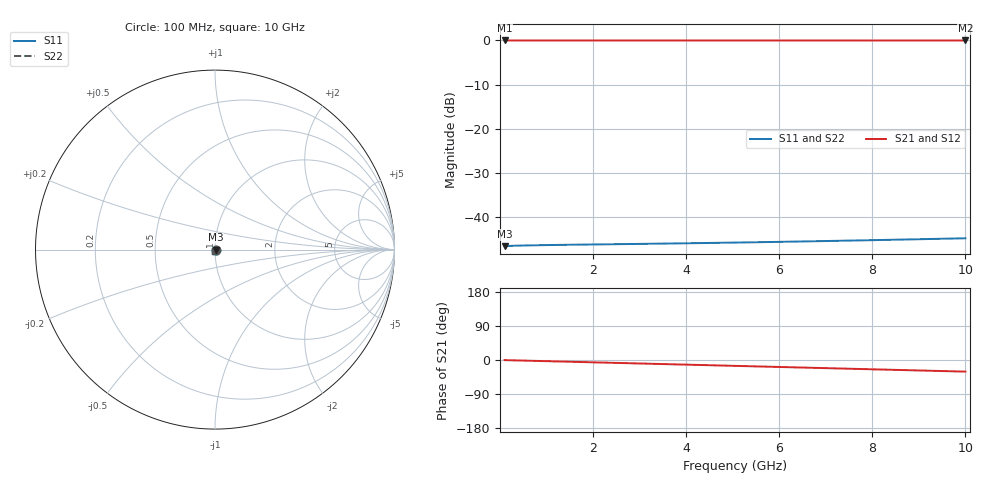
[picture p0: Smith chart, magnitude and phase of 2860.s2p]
# Hz S RI R 50.00
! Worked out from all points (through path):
!   100 points, 100 MHz to 10 GHz, reference 50 ohm
!   highest |S21| = -0.04 dB at 100 MHz (marker M1); lowest = 0.0 dB at 10 GHz (marker M2)
!   group delay of S21, straight-line fit = 8.52 ps
!   lowest |S11| = -46.5 dB at 100 MHz (marker M3), VSWR 1.01, Z = 50.5 - j0.0056 ohm
!   |S11| at or under -10 dB: start of sweep to end of sweep
!   |S22| runs from -46.5 to -44.7 dB; largest |S21 - S12| = 0
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1e8  0.00474 -5.55e-05  0.9952 -0.00532  0.9952 -0.00532  0.00474 -5.55e-05
2e8  0.00477 -0.000111  0.9952 -0.0106  0.9952 -0.0106  0.00477 -0.000111
3e8  0.00479 -0.000167  0.9951 -0.016  0.9951 -0.016  0.00479 -0.000167
6e8  0.00483 -0.000336  0.9946 -0.0319  0.9946 -0.0319  0.00483 -0.000336
1.1e9  0.00485 -0.000618  0.9933 -0.0585  0.9933 -0.0585  0.00485 -0.000618
1.8e9  0.00484 -0.00102  0.9904 -0.0956  0.9904 -0.0956  0.00484 -0.00102
2.2e9  0.00482 -0.00124  0.9881 -0.1168  0.9881 -0.1168  0.00482 -0.00124
2.6e9  0.00478 -0.00147  0.9853 -0.1379  0.9853 -0.1379  0.00478 -0.00147
3e9  0.00474 -0.00169  0.9821 -0.1589  0.9821 -0.1589  0.00474 -0.00169
3.4e9  0.00469 -0.00192  0.9784 -0.1799  0.9784 -0.1799  0.00469 -0.00192
3.8e9  0.00463 -0.00214  0.9743 -0.2008  0.9743 -0.2008  0.00463 -0.00214
4.2e9  0.00456 -0.00236  0.9698 -0.2216  0.9698 -0.2216  0.00456 -0.00236
4.6e9  0.00448 -0.00258  0.9648 -0.2423  0.9648 -0.2423  0.00448 -0.00258
5.1e9  0.00437 -0.00285  0.9579 -0.268  0.9579 -0.268  0.00437 -0.00285
5.5e9  0.00427 -0.00306  0.9519 -0.2885  0.9519 -0.2885  0.00427 -0.00306
5.9e9  0.00416 -0.00327  0.9455 -0.3088  0.9455 -0.3088  0.00416 -0.00327
6.7e9  0.00393 -0.00368  0.9313 -0.349  0.9313 -0.349  0.00393 -0.00368
7.5e9  0.00366 -0.00408  0.9154 -0.3886  0.9154 -0.3886  0.00366 -0.00408
7.9e9  0.00352 -0.00427  0.9069 -0.4081  0.9069 -0.4081  0.00352 -0.00427
8.4e9  0.00333 -0.0045  0.8956 -0.4323  0.8956 -0.4323  0.00333 -0.0045
9.2e9  0.00301 -0.00485  0.8761 -0.4703  0.8761 -0.4703  0.00301 -0.00485
1e10  0.00266 -0.00518  0.8551 -0.5074  0.8551 -0.5074  0.00266 -0.00518
